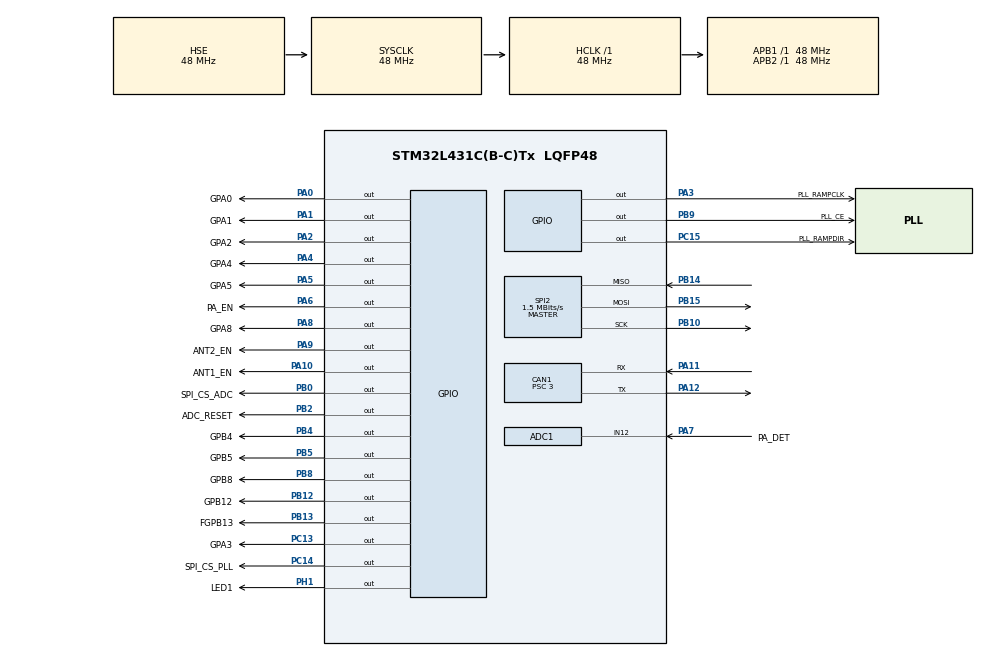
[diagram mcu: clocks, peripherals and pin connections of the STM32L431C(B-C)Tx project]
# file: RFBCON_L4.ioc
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ADC1.Channel-1\#ChannelRegularConversion=ADC_CHANNEL_12
ADC1.Channel-2\#ChannelRegularConversion=ADC_CHANNEL_TEMPSENSOR
ADC1.Channel-3\#ChannelRegularConversion=ADC_CHANNEL_VREFINT
ADC1.ClockPrescaler=ADC_CLOCK_SYNC_PCLK_DIV1
ADC1.ContinuousConvMode=DISABLE
ADC1.DMAContinuousRequests=ENABLE
ADC1.EOCSelection=ADC_EOC_SEQ_CONV
ADC1.ExternalTrigConv=ADC_SOFTWARE_START
ADC1.LowPowerAutoWait=DISABLE
ADC1.NbrOfConversion=3
ADC1.NbrOfConversionFlag=1
ADC1.OffsetNumber-1\#ChannelRegularConversion=ADC_OFFSET_NONE
ADC1.OffsetNumber-2\#ChannelRegularConversion=ADC_OFFSET_NONE
ADC1.OffsetNumber-3\#ChannelRegularConversion=ADC_OFFSET_NONE
ADC1.Overrun=ADC_OVR_DATA_OVERWRITTEN
ADC1.OversamplingMode=DISABLE
ADC1.Rank-1\#ChannelRegularConversion=1
ADC1.Rank-2\#ChannelRegularConversion=2
ADC1.Rank-3\#ChannelRegularConversion=3
ADC1.Resolution=ADC_RESOLUTION_12B
ADC1.SamplingTime-1\#ChannelRegularConversion=ADC_SAMPLETIME_92CYCLES_5
ADC1.SamplingTime-2\#ChannelRegularConversion=ADC_SAMPLETIME_24CYCLES_5
ADC1.SamplingTime-3\#ChannelRegularConversion=ADC_SAMPLETIME_24CYCLES_5
ADC1.master=1
CAN1.BS1=CAN_BS1_13TQ
CAN1.BS2=CAN_BS2_2TQ
CAN1.CalculateBaudRate=1000000
CAN1.CalculateTimeBit=1000
CAN1.CalculateTimeQuantum=62.5
CAN1.Prescaler=3
Dma.ADC1.0.Direction=DMA_PERIPH_TO_MEMORY
Dma.ADC1.0.Instance=DMA2_Channel3
Dma.ADC1.0.MemDataAlignment=DMA_MDATAALIGN_WORD
Dma.ADC1.0.MemInc=DMA_MINC_ENABLE
Dma.ADC1.0.Mode=DMA_CIRCULAR
Dma.ADC1.0.PeriphDataAlignment=DMA_PDATAALIGN_HALFWORD
Dma.ADC1.0.PeriphInc=DMA_PINC_DISABLE
Dma.ADC1.0.Priority=DMA_PRIORITY_LOW
Dma.Request0=ADC1
FREERTOS.Queues01=CANRxQueue,6,8,1,Dynamic,NULL,NULL
FREERTOS.Tasks01=CanTask,16,512,StartCanTask,Default,NULL,Dynamic,NULL,NULL;TxMgr,32,128,StartTxMgr,Default,NULL,Dynamic,NULL,NULL;Blink,8,128,StartBlink,Default,NULL,Dynamic,NULL,NULL
FREERTOS.configCHECK_FOR_STACK_OVERFLOW=2
FREERTOS.configENABLE_FPU=1
FREERTOS.configTOTAL_HEAP_SIZE=16384
FREERTOS.configUSE_NEWLIB_REENTRANT=1
Mcu.Family=STM32L4
Mcu.Name=STM32L431C(B-C)Tx
Mcu.Package=LQFP48
NVIC.ADC1_IRQn=true\:5\:0\:true\:false\:true\:true\:true\:true\:false
NVIC.CAN1_RX0_IRQn=true\:5\:0\:true\:false\:true\:true\:true\:true\:false
NVIC.DMA2_Channel3_IRQn=true\:5\:0\:false\:false\:true\:true\:false\:true\:true
NVIC.PriorityGroup=NVIC_PRIORITYGROUP_4
NVIC.TIM1_BRK_TIM15_IRQn=true\:5\:0\:false\:false\:true\:true\:true\:true\:false
NVIC.TIM6_DAC_IRQn=true\:0\:0\:false\:false\:true\:false\:false\:true\:true
NVIC.TimeBase=TIM6_DAC_IRQn
NVIC.TimeBaseIP=TIM6
PA0.GPIO_Label=GPA0
PA0.Signal=GPIO_Output
PA1.GPIO_Label=GPA1
PA1.Signal=GPIO_Output
PA10.GPIO_Label=ANT1_EN
PA10.Signal=GPIO_Output
PA11.GPIO_Speed=GPIO_SPEED_FREQ_MEDIUM
PA11.Mode=CAN_Activate
PA11.Signal=CAN1_RX
PA12.GPIO_Speed=GPIO_SPEED_FREQ_MEDIUM
PA12.Mode=CAN_Activate
PA12.Signal=CAN1_TX
PA13\ (JTMS-SWDIO).Mode=Serial_Wire
PA13\ (JTMS-SWDIO).Signal=SYS_JTMS-SWDIO
PA14\ (JTCK-SWCLK).Mode=Serial_Wire
PA14\ (JTCK-SWCLK).Signal=SYS_JTCK-SWCLK
PA2.GPIO_Label=GPA2
PA2.Signal=GPIO_Output
PA3.GPIO_Label=PLL_RAMPCLK
PA3.Signal=GPIO_Output
PA4.GPIO_Label=GPA4
PA4.Signal=GPIO_Output
PA5.GPIO_Label=GPA5
PA5.Signal=GPIO_Output
PA6.GPIO_Label=PA_EN
PA6.GPIO_ModeDefaultOutputPP=GPIO_MODE_OUTPUT_PP
PA6.GPIO_PuPd=GPIO_NOPULL
PA6.PinState=GPIO_PIN_SET
PA6.Signal=GPIO_Output
PA7.GPIO_Label=PA_DET
PA7.Signal=ADCx_IN12
PA8.GPIO_Label=GPA8
PA8.Signal=GPIO_Output
PA9.GPIO_Label=ANT2_EN
PA9.Signal=GPIO_Output
PB0.GPIO_Label=SPI_CS_ADC
PB0.GPIO_Speed=GPIO_SPEED_FREQ_LOW
PB0.PinState=GPIO_PIN_SET
PB0.Signal=GPIO_Output
PB10.GPIO_Speed=GPIO_SPEED_FREQ_MEDIUM
PB10.Mode=Full_Duplex_Master
PB10.Signal=SPI2_SCK
PB12.GPIO_Label=GPB12
PB12.Signal=GPIO_Output
PB13.GPIO_Label=FGPB13
PB13.GPIO_Speed=GPIO_SPEED_FREQ_HIGH
PB13.Signal=GPIO_Output
PB14.GPIO_Speed=GPIO_SPEED_FREQ_MEDIUM
PB14.Mode=Full_Duplex_Master
PB14.Signal=SPI2_MISO
PB15.GPIO_Speed=GPIO_SPEED_FREQ_MEDIUM
PB15.Mode=Full_Duplex_Master
PB15.Signal=SPI2_MOSI
PB2.GPIO_Label=ADC_RESET
PB2.PinState=GPIO_PIN_SET
PB2.Signal=GPIO_Output
PB4\ (NJTRST).GPIO_Label=GPB4
PB4\ (NJTRST).Signal=GPIO_Output
PB5.GPIO_Label=GPB5
PB5.Signal=GPIO_Output
PB8.GPIO_Label=GPB8
PB8.Signal=GPIO_Output
PB9.GPIO_Label=PLL_CE
PB9.GPIO_ModeDefaultOutputPP=GPIO_MODE_OUTPUT_OD
PB9.GPIO_PuPd=GPIO_NOPULL
PB9.PinState=GPIO_PIN_RESET
PB9.Signal=GPIO_Output
PC13.GPIO_Label=GPA3
PC13.Signal=GPIO_Output
PC14-OSC32_IN\ (PC14).GPIO_Label=SPI_CS_PLL
PC14-OSC32_IN\ (PC14).PinState=GPIO_PIN_SET
PC14-OSC32_IN\ (PC14).Signal=GPIO_Output
PC15-OSC32_OUT\ (PC15).GPIO_Label=PLL_RAMPDIR
PC15-OSC32_OUT\ (PC15).Signal=GPIO_Output
PH0-OSC_IN\ (PH0).Mode=HSE-External-Clock-Source
PH0-OSC_IN\ (PH0).Signal=RCC_OSC_IN
PH1-OSC_OUT\ (PH1).GPIO_Label=LED1
PH1-OSC_OUT\ (PH1).PinState=GPIO_PIN_SET
PH1-OSC_OUT\ (PH1).Signal=GPIO_Output
ProjectManager.HeapSize=0x200
ProjectManager.StackSize=0x400
ProjectManager.TargetToolchain=STM32CubeIDE
RCC.ADCCLockSelection=RCC_ADCCLKSOURCE_SYSCLK
RCC.ADCFreq_Value=48000000
RCC.AHBFreq_Value=48000000
RCC.APB1Freq_Value=48000000
RCC.APB1TimFreq_Value=48000000
RCC.APB2Freq_Value=48000000
RCC.APB2TimFreq_Value=48000000
RCC.CK48CLockSelection=RCC_USBCLKSOURCE_HSI48
RCC.CortexFreq_Value=48000000
RCC.HCLKFreq_Value=48000000
RCC.HSE_VALUE=48000000
RCC.HSI48_VALUE=48000000
RCC.HSI_VALUE=16000000
RCC.LSE_VALUE=32768
RCC.MSI_VALUE=4000000
RCC.PLLQ=RCC_PLLQ_DIV6
RCC.PLLR=RCC_PLLR_DIV8
RCC.PLLSAI1N=10
RCC.PLLSourceVirtual=RCC_PLLSOURCE_HSE
RCC.SYSCLKFreq_VALUE=48000000
RCC.SYSCLKSource=RCC_SYSCLKSOURCE_HSE
RCC.VCOOutputFreq_Value=384000000
RCC.VDD_VALUE=2.4
SH.ADCx_IN12.0=ADC1_IN12,IN12-Single-Ended
SPI2.BaudRatePrescaler=SPI_BAUDRATEPRESCALER_32
SPI2.CalculateBaudRate=1.5 MBits/s
SPI2.DataSize=SPI_DATASIZE_8BIT
SPI2.Direction=SPI_DIRECTION_2LINES
SPI2.Mode=SPI_MODE_MASTER
SPI2.NSSPMode=SPI_NSS_PULSE_ENABLE
SPI2.VirtualType=VM_MASTER
TIM15.AutoReloadPreload=TIM_AUTORELOAD_PRELOAD_DISABLE
TIM15.Period=65535
TIM15.Prescaler=0
TIM15.RepetitionCounter=0
VP_ADC1_TempSens_Input.Mode=IN-TempSens
VP_ADC1_Vref_Input.Mode=IN-Vrefint
VP_FREERTOS_VS_CMSIS_V2.Mode=CMSIS_V2
VP_SYS_VS_tim6.Mode=TIM6
VP_TIM15_VS_ClockSourceINT.Mode=Internal
VP_TIM15_VS_OPM.Mode=OPM_bit
board=custom

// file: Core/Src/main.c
/* USER CODE BEGIN Header */
/**
  ******************************************************************************
  * @file           : main.c
  * @brief          : Main program body
  ******************************************************************************
  * @attention
  *
  * Copyright (c) 2023 STMicroelectronics.
  * All rights reserved.
  *
  * This software is licensed under terms that can be found in the LICENSE file
  * in the root directory of this software component.
  * If no LICENSE file comes with this software, it is provided AS-IS.
  *
  ******************************************************************************
  */
/* USER CODE END Header */
#include "main.h"
#include "cmsis_os.h"
#include "adc.h"
#include "can.h"
#include "dma.h"
#include "spi.h"
#include "tim.h"
#include "gpio.h"

void SystemClock_Config(void);
void MX_FREERTOS_Init(void);

int main(void)
{

  /* MCU Configuration--------------------------------------------------------*/

  /* Reset of all peripherals, Initializes the Flash interface and the Systick. */
  HAL_Init();

  /* Configure the system clock */
  SystemClock_Config();

  /* Initialize all configured peripherals */
  MX_GPIO_Init();
  MX_DMA_Init();
  MX_CAN1_Init();
  MX_SPI2_Init();
  MX_TIM15_Init();
  MX_ADC1_Init();

  /* Init scheduler */
  osKernelInitialize();  /* Call init function for freertos objects (in freertos.c) */
  MX_FREERTOS_Init();

  /* Start scheduler */
  osKernelStart();

  /* We should never get here as control is now taken by the scheduler */
  /* Infinite loop */
  while (1)
  {

  }
}

void SystemClock_Config(void)
{
  RCC_OscInitTypeDef RCC_OscInitStruct = {0};
  RCC_ClkInitTypeDef RCC_ClkInitStruct = {0};

  /** Configure the main internal regulator output voltage
  */
  if (HAL_PWREx_ControlVoltageScaling(PWR_REGULATOR_VOLTAGE_SCALE1) != HAL_OK)
  {
    Error_Handler();
  }

  /** Initializes the RCC Oscillators according to the specified parameters
  * in the RCC_OscInitTypeDef structure.
  */
  RCC_OscInitStruct.OscillatorType = RCC_OSCILLATORTYPE_HSE;
  RCC_OscInitStruct.HSEState = RCC_HSE_BYPASS;
  RCC_OscInitStruct.PLL.PLLState = RCC_PLL_NONE;
  if (HAL_RCC_OscConfig(&RCC_OscInitStruct) != HAL_OK)
  {
    Error_Handler();
  }

  /** Initializes the CPU, AHB and APB buses clocks
  */
  RCC_ClkInitStruct.ClockType = RCC_CLOCKTYPE_HCLK|RCC_CLOCKTYPE_SYSCLK
                              |RCC_CLOCKTYPE_PCLK1|RCC_CLOCKTYPE_PCLK2;
  RCC_ClkInitStruct.SYSCLKSource = RCC_SYSCLKSOURCE_HSE;
  RCC_ClkInitStruct.AHBCLKDivider = RCC_SYSCLK_DIV1;
  RCC_ClkInitStruct.APB1CLKDivider = RCC_HCLK_DIV1;
  RCC_ClkInitStruct.APB2CLKDivider = RCC_HCLK_DIV1;

  if (HAL_RCC_ClockConfig(&RCC_ClkInitStruct, FLASH_LATENCY_2) != HAL_OK)
  {
    Error_Handler();
  }
}

void HAL_TIM_PeriodElapsedCallback(TIM_HandleTypeDef *htim)
{
  if (htim->Instance == TIM6) {
    HAL_IncTick();
  }
}

void Error_Handler(void)
{
  __disable_irq();
  while (1)
  {
  }
}

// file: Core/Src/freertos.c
/* USER CODE BEGIN Header */
/**
  ******************************************************************************
  * File Name          : freertos.c
  * Description        : Code for freertos applications
  ******************************************************************************
  * @attention
  *
  * Copyright (c) 2023 STMicroelectronics.
  * All rights reserved.
  *
  * This software is licensed under terms that can be found in the LICENSE file
  * in the root directory of this software component.
  * If no LICENSE file comes with this software, it is provided AS-IS.
  *
  ******************************************************************************
  */
/* USER CODE END Header */

#include "FreeRTOS.h"
#include "task.h"
#include "main.h"
#include "cmsis_os.h"

/* USER CODE BEGIN Includes */

#include "queue.h"
#include "can.h"
#include "spi.h"
#include "tim.h"
#include "adc.h"
#include "can.h"
#include <string.h>

/* USER CODE END Includes */

/* USER CODE BEGIN PD */

#define TXMGR_NOTIFICATION_BIT_STARTSWEEP 1 // LSB

/* USER CODE END PD */

/* Definitions for CanTask */
osThreadId_t CanTaskHandle;
const osThreadAttr_t CanTask_attributes = {
  .name = "CanTask",
  .stack_size = 512 * 4,
  .priority = (osPriority_t) osPriorityBelowNormal,
};
/* Definitions for TxMgr */
osThreadId_t TxMgrHandle;
const osThreadAttr_t TxMgr_attributes = {
  .name = "TxMgr",
  .stack_size = 128 * 4,
  .priority = (osPriority_t) osPriorityAboveNormal,
};
/* Definitions for Blink */
osThreadId_t BlinkHandle;
const osThreadAttr_t Blink_attributes = {
  .name = "Blink",
  .stack_size = 128 * 4,
  .priority = (osPriority_t) osPriorityLow,
};
/* Definitions for CANRxQueue */
osMessageQueueId_t CANRxQueueHandle;
const osMessageQueueAttr_t CANRxQueue_attributes = {
  .name = "CANRxQueue"
};

void StartCanTask(void *argument);
void StartTxMgr(void *argument);
void StartBlink(void *argument);

void MX_FREERTOS_Init(void); /* (MISRA C 2004 rule 8.1) */

/* Hook prototypes */
void vApplicationStackOverflowHook(xTaskHandle xTask, signed char *pcTaskName);

/* USER CODE BEGIN 4 */
void vApplicationStackOverflowHook(xTaskHandle xTask, signed char *pcTaskName)
{
   /* Run time stack overflow checking is performed if
   configCHECK_FOR_STACK_OVERFLOW is defined to 1 or 2. This hook function is
   called if a stack overflow is detected. */
	while(1) {}
}
/* USER CODE END 4 */

void MX_FREERTOS_Init(void) {

  /* Create the queue(s) */
  /* creation of CANRxQueue */
  CANRxQueueHandle = osMessageQueueNew (6, 8, &CANRxQueue_attributes);

  /* Create the thread(s) */
  /* creation of CanTask */
  CanTaskHandle = osThreadNew(StartCanTask, NULL, &CanTask_attributes);

  /* creation of TxMgr */
  TxMgrHandle = osThreadNew(StartTxMgr, NULL, &TxMgr_attributes);

  /* creation of Blink */
  BlinkHandle = osThreadNew(StartBlink, NULL, &Blink_attributes);

}

void StartCanTask(void *argument)
{
  /* USER CODE BEGIN StartCanTask */

	RFBCANMessage qm;

    HAL_CAN_Start(&hcan1);

  /* Infinite loop */
  for(;;) {
	if(xQueueReceive(CANRxQueueHandle, &qm, portMAX_DELAY)) {
		switch(qm.h) {
		case RFBCANMessage_SetPllPwr: {
			uint8_t p = SPISetTiPllOutAPwr(qm.d.b[3], qm.d.b[2]);
			memset((void*)canTxData, 0u, 7);
			canTxData[7] = p;
	        HAL_CAN_AddTxMessage(&hcan1, &canTxHeader, canTxData, &TxMailBox);
		}; break;
		case RFBCANMessage_SetPllContFreq: {
			float rf = SPISetTiPllFreq(qm.d.f);
			memcpy((void*)canTxData + 4, (const void*)&rf, 4);
			memset((void*)canTxData, 0u, 4);
	        HAL_CAN_AddTxMessage(&hcan1, &canTxHeader, canTxData, &TxMailBox);
		}; break;
		case RFBCANMessage_StartPllSweep: {
            xTaskNotify(TxMgrHandle, 1u << TXMGR_NOTIFICATION_BIT_STARTSWEEP, eSetBits);
		}; break;
		case RFBCANMessage_PushPllData: {
			RFBPllData[qm.a].u4 = qm.d.u4;
		}; break;
		case RFBCANMessage_SetPllSweepData: {
			SPISetTiPllRampFreqFromBuf();
		}; break;
		case RFBCANMessage_SetPaEn: {
			if(qm.d.i4 < 0) {
				LL_GPIO_SetOutputPin(PA_EN_GPIO_Port, PA_EN_Pin);
			} else {
				LL_GPIO_ResetOutputPin(PA_EN_GPIO_Port, PA_EN_Pin);
			}
		}; break;
		case RFBCANMessage_GetPllLocked: {
			canTxData[0] = SPIGetTiPllLocked();
			canTxData[1] = 0;
			canTxData[2] = 0;
			canTxData[3] = 0;
			canTxData[4] = 0;
			canTxData[5] = 0;
			canTxData[6] = 0;
			canTxData[7] = 0;
	        HAL_CAN_AddTxMessage(&hcan1, &canTxHeader, canTxData, &TxMailBox);
		}; break;
		case RFBCANMessage_GetPaPwr: {
			HAL_ADC_Start_DMA(&hadc1, ADCSample_values, ADCSAMPLE_SIZE);
			HAL_ADC_PollForConversion(&hadc1, 50);

			float uk = ADCSample_values[ADCSAMPLE_PAPWR];
			float op = SE5004LmV2dB(COMPUTATION_DIGITAL_12BITS_TO_mV(uk));
			memcpy((void*)canTxData + 4, (const void*)&op, 4);
			memcpy((void*)canTxData, (const void*)&uk, 4);
	        HAL_CAN_AddTxMessage(&hcan1, &canTxHeader, canTxData, &TxMailBox);
		}; break;
		case RFBCANMessage_SetAntennaState: {
			if(qm.d.b[3] & 0x1) {
				LL_GPIO_ResetOutputPin(ANT1_EN_GPIO_Port, ANT1_EN_Pin);
			} else {
				LL_GPIO_SetOutputPin(ANT1_EN_GPIO_Port, ANT1_EN_Pin);
			}
			if(qm.d.b[3] & 0x2) {
				LL_GPIO_ResetOutputPin(ANT2_EN_GPIO_Port, ANT2_EN_Pin);
			} else {
				LL_GPIO_SetOutputPin(ANT2_EN_GPIO_Port, ANT2_EN_Pin);
			}
		}; break;
		case RFBCANMessage_GetPllRegister: {
			uint16_t c = SPIReadTiPll(qm.a);
			canTxData[0] = 0;
			canTxData[1] = 0;
			canTxData[2] = 0;
			canTxData[3] = 0;
			canTxData[4] = 0;
			canTxData[5] = 0;
			canTxData[6] = (uint8_t)(c >> 8);
			canTxData[7] = (uint8_t)c;
	        HAL_CAN_AddTxMessage(&hcan1, &canTxHeader, canTxData, &TxMailBox);
		}; break;
		case RFBCANMessage_SetPllRegister: {
			SPIWriteTiPll(qm.a, qm.d.h[1]);
		}; break;
		default:
			break;
		}
	}
  }
  /* USER CODE END StartCanTask */
}

void StartTxMgr(void *argument)
{
  /* USER CODE BEGIN StartTxMgr */
    LL_GPIO_SetOutputPin(ADC_RESET_GPIO_Port, ADC_RESET_Pin);
    osDelay(1);
    LL_GPIO_ResetOutputPin(ADC_RESET_GPIO_Port, ADC_RESET_Pin);
    SPIInitTiAdc();
    osDelay(1);

	LL_GPIO_SetOutputPin(PLL_CE_GPIO_Port, PLL_CE_Pin);
    osDelay(4);
    SPIInitTiPll();
    osDelay(1);

	HAL_ADC_Start_DMA(&hadc1, ADCSample_values, ADCSAMPLE_SIZE);

    uint32_t ulNotifiedValue;
    /* Infinite loop */
    for(;;) {
    	xTaskNotifyWait(0, 1u << TXMGR_NOTIFICATION_BIT_STARTSWEEP, &ulNotifiedValue, portMAX_DELAY);
    	if(ulNotifiedValue & (1u << TXMGR_NOTIFICATION_BIT_STARTSWEEP)) {
    		taskENTER_CRITICAL();
    		SPIWriteTiPll(  0, 0b0010000010011000);
    		//SPIWriteTiPll( 96, 0b1000000010000000); // Burst On, CNT:32
    		LL_GPIO_TogglePin(FGPB13_GPIO_Port, FGPB13_Pin);
    		SPIWriteTiPll(  0, 0b1010000010011000);
    		//LL_GPIO_SetOutputPin(PLL_RAMPCLK_GPIO_Port, PLL_RAMPCLK_Pin);
    		//LL_GPIO_TogglePin(PLL_RAMPCLK_GPIO_Port, PLL_RAMPCLK_Pin);
    		taskEXIT_CRITICAL();
    		osDelay(1);
    		//LL_GPIO_ResetOutputPin(PLL_RAMPCLK_GPIO_Port, PLL_RAMPCLK_Pin);
    		//HAL_TIM_Base_Start(&htim15);
    		/*LL_TIM_SetAutoReload(TIM15, RFBPllData[RFBPllData_SweepN].u4);
    		LL_TIM_EnableCounter(TIM15);
    		while(!LL_TIM_IsActiveFlag_UPDATE(TIM15)) {
    			osDelay(0);
    			float op = SE5004LmV2dB(COMPUTATION_DIGITAL_12BITS_TO_mV(ADCSample_values[ADCSAMPLE_PAPWR]));
    		}
    		LL_TIM_ClearFlag_UPDATE(TIM15);*/
    	}
    }

  /* USER CODE END StartTxMgr */
}

void StartBlink(void *argument)
{
  /* USER CODE BEGIN StartBlink */
  /* Infinite loop */
  for(;;)
  {
      LL_GPIO_TogglePin(LED1_GPIO_Port, LED1_Pin);
      osDelay(pdMS_TO_TICKS(1000));
  }
  /* USER CODE END StartBlink */
}
